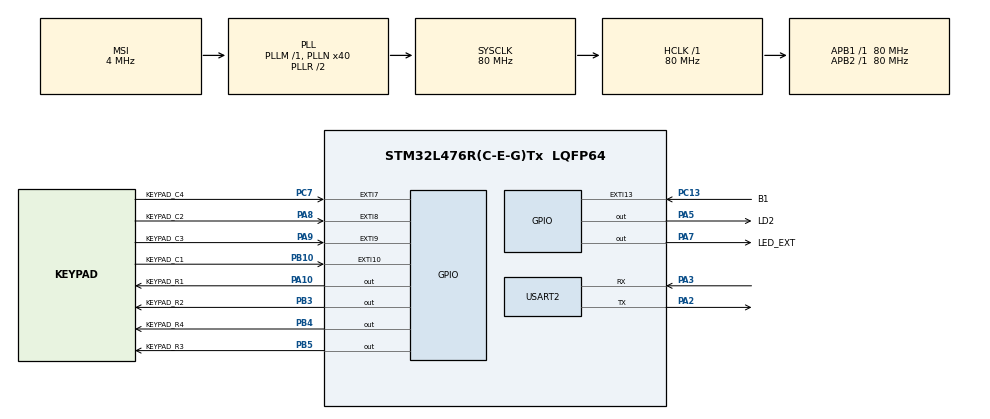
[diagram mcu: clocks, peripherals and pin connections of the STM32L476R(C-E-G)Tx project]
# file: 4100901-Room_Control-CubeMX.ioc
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Mcu.Family=STM32L4
Mcu.Name=STM32L476R(C-E-G)Tx
Mcu.Package=LQFP64
NVIC.EXTI15_10_IRQn=true\:0\:0\:false\:false\:true\:true\:true\:true
NVIC.EXTI9_5_IRQn=true\:0\:0\:false\:false\:true\:true\:true\:true
NVIC.PriorityGroup=NVIC_PRIORITYGROUP_4
NVIC.USART2_IRQn=true\:0\:0\:false\:false\:true\:true\:true\:true
PA10.GPIO_Label=KEYPAD_R1
PA10.Signal=GPIO_Output
PA2.Mode=Asynchronous
PA2.Signal=USART2_TX
PA3.Mode=Asynchronous
PA3.Signal=USART2_RX
PA5.GPIO_Label=LD2
PA5.Signal=GPIO_Output
PA7.GPIO_Label=LED_EXT
PA7.Signal=GPIO_Output
PA8.GPIO_Label=KEYPAD_C2
PA8.GPIO_ModeDefaultEXTI=GPIO_MODE_IT_FALLING
PA8.GPIO_PuPd=GPIO_PULLUP
PA8.Signal=GPXTI8
PA9.GPIO_Label=KEYPAD_C3
PA9.GPIO_ModeDefaultEXTI=GPIO_MODE_IT_FALLING
PA9.GPIO_PuPd=GPIO_PULLUP
PA9.Signal=GPXTI9
PB10.GPIO_Label=KEYPAD_C1
PB10.GPIO_ModeDefaultEXTI=GPIO_MODE_IT_FALLING
PB10.GPIO_PuPd=GPIO_PULLUP
PB10.Signal=GPXTI10
PB3\ (JTDO-TRACESWO).GPIO_Label=KEYPAD_R2
PB3\ (JTDO-TRACESWO).Signal=GPIO_Output
PB4\ (NJTRST).GPIO_Label=KEYPAD_R4
PB4\ (NJTRST).Signal=GPIO_Output
PB5.GPIO_Label=KEYPAD_R3
PB5.Signal=GPIO_Output
PC13.GPIO_Label=B1
PC13.Signal=GPXTI13
PC7.GPIO_Label=KEYPAD_C4
PC7.GPIO_ModeDefaultEXTI=GPIO_MODE_IT_FALLING
PC7.GPIO_PuPd=GPIO_PULLUP
PC7.Signal=GPXTI7
ProjectManager.HeapSize=0x200
ProjectManager.StackSize=0x400
ProjectManager.TargetToolchain=CMake
RCC.AHBFreq_Value=80000000
RCC.APB1Freq_Value=80000000
RCC.APB1TimFreq_Value=80000000
RCC.APB2Freq_Value=80000000
RCC.APB2TimFreq_Value=80000000
RCC.CortexFreq_Value=80000000
RCC.HCLKFreq_Value=80000000
RCC.HSE_VALUE=8000000
RCC.HSI_VALUE=16000000
RCC.LSE_VALUE=32768
RCC.MSI_VALUE=4000000
RCC.PLLN=40
RCC.SYSCLKFreq_VALUE=80000000
RCC.SYSCLKSource=RCC_SYSCLKSOURCE_PLLCLK
RCC.VCOOutputFreq_Value=160000000
USART2.VirtualMode-Asynchronous=VM_ASYNC
board=custom

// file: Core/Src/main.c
/* USER CODE BEGIN Header */
/**
 ******************************************************************************
 * @file           : main.c
 * @brief          : Main program body
 ******************************************************************************
 * @attention
 *
 * Copyright (c) 2025 STMicroelectronics.
 * All rights reserved.
 *
 * This software is licensed under terms that can be found in the LICENSE file
 * in the root directory of this software component.
 * If no LICENSE file comes with this software, it is provided AS-IS.
 *
 ******************************************************************************
 */
/* USER CODE END Header */
#include "main.h"

/* USER CODE BEGIN Includes */
#include "led_driver.h"
#include "ring_buffer.h"
#include "keypad_driver.h"
#include <stdio.h>
#include <string.h>
/* USER CODE END Includes */

UART_HandleTypeDef huart2;

/* USER CODE BEGIN PV */
led_handle_t led1 = {.port = GPIOA, .pin = GPIO_PIN_5};     // LD2 en NUCLEO-L476RG
led_handle_t led_door = {.port = GPIOA, .pin = GPIO_PIN_4}; // LED externo

keypad_handle_t keypad = {
    .row_ports = {KEYPAD_R1_GPIO_Port, KEYPAD_R2_GPIO_Port, KEYPAD_R3_GPIO_Port, KEYPAD_R4_GPIO_Port},
    .row_pins = {KEYPAD_R1_Pin, KEYPAD_R2_Pin, KEYPAD_R3_Pin, KEYPAD_R4_Pin},
    .col_ports = {KEYPAD_C1_GPIO_Port, KEYPAD_C2_GPIO_Port, KEYPAD_C3_GPIO_Port, KEYPAD_C4_GPIO_Port},
    .col_pins = {KEYPAD_C1_Pin, KEYPAD_C2_Pin, KEYPAD_C3_Pin, KEYPAD_C4_Pin}};

#define KEYPAD_BUFFER_LEN 16
uint8_t keypad_buffer[KEYPAD_BUFFER_LEN];
ring_buffer_t keypad_rb;

/* USER CODE END PV */

void SystemClock_Config(void);
static void MX_GPIO_Init(void);
static void MX_USART2_UART_Init(void);

/* USER CODE BEGIN 0 */
void HAL_GPIO_EXTI_Callback(uint16_t GPIO_Pin)
{
  char key = keypad_scan(&keypad, GPIO_Pin);
  if (key != '\0')
  {
    ring_buffer_write(&keypad_rb, (uint8_t)key);
  }
}
/* USER CODE END 0 */

int main(void)
{

  /* MCU Configuration--------------------------------------------------------*/

  /* Reset of all peripherals, Initializes the Flash interface and the Systick. */
  HAL_Init();

  /* Configure the system clock */
  SystemClock_Config();

  /* Initialize all configured peripherals */
  MX_GPIO_Init();
  MX_USART2_UART_Init();
  /* USER CODE BEGIN 2 */
  led_init(&led1);

  ring_buffer_init(&keypad_rb, keypad_buffer, KEYPAD_BUFFER_LEN);
  keypad_init(&keypad);
  printf("Sistema listo. Esperando pulsaciones del teclado...\r\n");
  printf("Desarrollado por: [Cristian Chalaca]\r\n");
  /* USER CODE END 2 */

  /* Infinite loop */
  /* USER CODE BEGIN WHILE */
  while (1)
  {
    // Esperar hasta que se presionen 4 teclas
    printf("Ingrese la clave de 4 dígitos:\r\n");
    char pin_buffer[5] = {0};
    int pin_index = 0;
    const char clave[5] = "A2C4"; // Clave de 4 dígitos
    while (pin_index < 4) {
      uint8_t key_from_buffer;
      if (ring_buffer_read(&keypad_rb, &key_from_buffer)) {
        pin_buffer[pin_index++] = (char)key_from_buffer;
        printf("Tecla %d: %c\r\n", pin_index, (char)key_from_buffer);
      }
    }

    // Mostrar el PIN
    printf("PIN ingresado: %s\r\n", pin_buffer);

    // Comparar con la clave almacenada con la ingresada por el usuario
    if (strcmp(pin_buffer, clave) == 0) {
        printf("Clave correcta!\r\n");
        led_on(&led1);
        HAL_Delay(2000);
        led_off(&led1);
    } else {
        printf("Clave incorrecta!\r\n");
    }

    // Esperar a que se suelten todas las teclas antes de permitir otro ingreso
    HAL_Delay(500);
    while (ring_buffer_read(&keypad_rb, NULL)) {
      // Vaciar buffer de teclas
    }
    /* USER CODE END WHILE */

  }
}

void SystemClock_Config(void)
{
  RCC_OscInitTypeDef RCC_OscInitStruct = {0};
  RCC_ClkInitTypeDef RCC_ClkInitStruct = {0};

  /** Configure the main internal regulator output voltage
  */
  if (HAL_PWREx_ControlVoltageScaling(PWR_REGULATOR_VOLTAGE_SCALE1) != HAL_OK)
  {
    Error_Handler();
  }

  /** Initializes the RCC Oscillators according to the specified parameters
  * in the RCC_OscInitTypeDef structure.
  */
  RCC_OscInitStruct.OscillatorType = RCC_OSCILLATORTYPE_MSI;
  RCC_OscInitStruct.MSIState = RCC_MSI_ON;
  RCC_OscInitStruct.MSICalibrationValue = 0;
  RCC_OscInitStruct.MSIClockRange = RCC_MSIRANGE_6;
  RCC_OscInitStruct.PLL.PLLState = RCC_PLL_ON;
  RCC_OscInitStruct.PLL.PLLSource = RCC_PLLSOURCE_MSI;
  RCC_OscInitStruct.PLL.PLLM = 1;
  RCC_OscInitStruct.PLL.PLLN = 40;
  RCC_OscInitStruct.PLL.PLLP = RCC_PLLP_DIV7;
  RCC_OscInitStruct.PLL.PLLQ = RCC_PLLQ_DIV2;
  RCC_OscInitStruct.PLL.PLLR = RCC_PLLR_DIV2;
  if (HAL_RCC_OscConfig(&RCC_OscInitStruct) != HAL_OK)
  {
    Error_Handler();
  }

  /** Initializes the CPU, AHB and APB buses clocks
  */
  RCC_ClkInitStruct.ClockType = RCC_CLOCKTYPE_HCLK|RCC_CLOCKTYPE_SYSCLK
                              |RCC_CLOCKTYPE_PCLK1|RCC_CLOCKTYPE_PCLK2;
  RCC_ClkInitStruct.SYSCLKSource = RCC_SYSCLKSOURCE_PLLCLK;
  RCC_ClkInitStruct.AHBCLKDivider = RCC_SYSCLK_DIV1;
  RCC_ClkInitStruct.APB1CLKDivider = RCC_HCLK_DIV1;
  RCC_ClkInitStruct.APB2CLKDivider = RCC_HCLK_DIV1;

  if (HAL_RCC_ClockConfig(&RCC_ClkInitStruct, FLASH_LATENCY_4) != HAL_OK)
  {
    Error_Handler();
  }
}

static void MX_USART2_UART_Init(void)
{

  huart2.Instance = USART2;
  huart2.Init.BaudRate = 115200;
  huart2.Init.WordLength = UART_WORDLENGTH_8B;
  huart2.Init.StopBits = UART_STOPBITS_1;
  huart2.Init.Parity = UART_PARITY_NONE;
  huart2.Init.Mode = UART_MODE_TX_RX;
  huart2.Init.HwFlowCtl = UART_HWCONTROL_NONE;
  huart2.Init.OverSampling = UART_OVERSAMPLING_16;
  huart2.Init.OneBitSampling = UART_ONE_BIT_SAMPLE_DISABLE;
  huart2.AdvancedInit.AdvFeatureInit = UART_ADVFEATURE_NO_INIT;
  if (HAL_UART_Init(&huart2) != HAL_OK)
  {
    Error_Handler();
  }

}

static void MX_GPIO_Init(void)
{
  GPIO_InitTypeDef GPIO_InitStruct = {0};

  /* GPIO Ports Clock Enable */
  __HAL_RCC_GPIOC_CLK_ENABLE();
  __HAL_RCC_GPIOA_CLK_ENABLE();
  __HAL_RCC_GPIOB_CLK_ENABLE();

  /*Configure GPIO pin Output Level */
  HAL_GPIO_WritePin(GPIOA, LD2_Pin|LED_EXT_Pin|KEYPAD_R1_Pin, GPIO_PIN_RESET);

  /*Configure GPIO pin Output Level */
  HAL_GPIO_WritePin(GPIOB, KEYPAD_R2_Pin|KEYPAD_R4_Pin|KEYPAD_R3_Pin, GPIO_PIN_RESET);

  /*Configure GPIO pin : B1_Pin */
  GPIO_InitStruct.Pin = B1_Pin;
  GPIO_InitStruct.Mode = GPIO_MODE_IT_RISING;
  GPIO_InitStruct.Pull = GPIO_NOPULL;
  HAL_GPIO_Init(B1_GPIO_Port, &GPIO_InitStruct);

  /*Configure GPIO pins : LD2_Pin LED_EXT_Pin KEYPAD_R1_Pin */
  GPIO_InitStruct.Pin = LD2_Pin|LED_EXT_Pin|KEYPAD_R1_Pin;
  GPIO_InitStruct.Mode = GPIO_MODE_OUTPUT_PP;
  GPIO_InitStruct.Pull = GPIO_NOPULL;
  GPIO_InitStruct.Speed = GPIO_SPEED_FREQ_LOW;
  HAL_GPIO_Init(GPIOA, &GPIO_InitStruct);

  /*Configure GPIO pin : KEYPAD_C1_Pin */
  GPIO_InitStruct.Pin = KEYPAD_C1_Pin;
  GPIO_InitStruct.Mode = GPIO_MODE_IT_FALLING;
  GPIO_InitStruct.Pull = GPIO_PULLUP;
  HAL_GPIO_Init(KEYPAD_C1_GPIO_Port, &GPIO_InitStruct);

  /*Configure GPIO pin : KEYPAD_C4_Pin */
  GPIO_InitStruct.Pin = KEYPAD_C4_Pin;
  GPIO_InitStruct.Mode = GPIO_MODE_IT_FALLING;
  GPIO_InitStruct.Pull = GPIO_PULLUP;
  HAL_GPIO_Init(KEYPAD_C4_GPIO_Port, &GPIO_InitStruct);

  /*Configure GPIO pins : KEYPAD_C2_Pin KEYPAD_C3_Pin */
  GPIO_InitStruct.Pin = KEYPAD_C2_Pin|KEYPAD_C3_Pin;
  GPIO_InitStruct.Mode = GPIO_MODE_IT_FALLING;
  GPIO_InitStruct.Pull = GPIO_PULLUP;
  HAL_GPIO_Init(GPIOA, &GPIO_InitStruct);

  /*Configure GPIO pins : KEYPAD_R2_Pin KEYPAD_R4_Pin KEYPAD_R3_Pin */
  GPIO_InitStruct.Pin = KEYPAD_R2_Pin|KEYPAD_R4_Pin|KEYPAD_R3_Pin;
  GPIO_InitStruct.Mode = GPIO_MODE_OUTPUT_PP;
  GPIO_InitStruct.Pull = GPIO_NOPULL;
  GPIO_InitStruct.Speed = GPIO_SPEED_FREQ_LOW;
  HAL_GPIO_Init(GPIOB, &GPIO_InitStruct);

  /* EXTI interrupt init*/
  HAL_NVIC_SetPriority(EXTI9_5_IRQn, 0, 0);
  HAL_NVIC_EnableIRQ(EXTI9_5_IRQn);

  HAL_NVIC_SetPriority(EXTI15_10_IRQn, 0, 0);
  HAL_NVIC_EnableIRQ(EXTI15_10_IRQn);

}

/* USER CODE BEGIN 4 */
int __io_putchar(int ch) {
    HAL_UART_Transmit(&huart2, (uint8_t *)&ch, 1, HAL_MAX_DELAY);
    return ch;
}
/* USER CODE END 4 */

void Error_Handler(void)
{
  __disable_irq();
  while (1)
  {
  }
}
